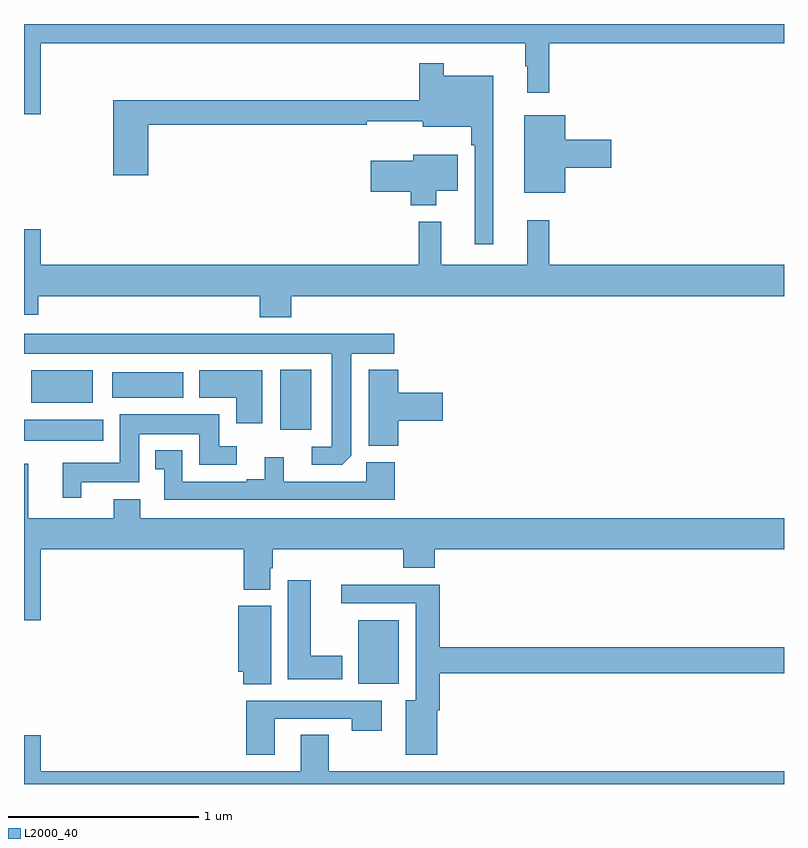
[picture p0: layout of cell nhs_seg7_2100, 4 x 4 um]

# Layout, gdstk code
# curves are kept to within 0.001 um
import gdstk
lib = gdstk.Library(unit=1e-6, precision=1e-09)
def R(c, l, rs):  # rectangles x0, y0, x1, y1
    for r in rs: c.add(gdstk.rectangle(r[:2], r[2:], *l))
def P(c, l, *ps):  # polygons
    for p in ps: c.add(gdstk.Polygon(p, *l))
L2000_40 = (2000, 40)

nhs_seg7_2100 = lib.new_cell('nhs_seg7_2100')
R(nhs_seg7_2100, L2000_40, [(250.76,1046.528,250.972,1046.863), (249,1047.806,249.418,1047.916), (250.349,1047.864,250.513,1048.18), (249.038,1048.007,249.361,1048.177), (249.465,1048.034,249.838,1048.168)])
P(nhs_seg7_2100, L2000_40, [(249.088,1049.9),(251.637,1049.9),(251.637,1049.777),(251.648,1049.777),(251.648,1049.637),(251.765,1049.637),(251.765,1049.9),(253,1049.9),(253,1050),(249,1050),(249,1049.526),(249.088,1049.526)],
  [(251.47,1049.728),(251.209,1049.728),(251.209,1049.794),(251.08,1049.794),(251.08,1049.599),(249.47,1049.599),(249.47,1049.205),(249.653,1049.205),(249.653,1049.47),(250.803,1049.47),(250.803,1049.489),(251.099,1049.489),(251.099,1049.459),(251.353,1049.459),(251.353,1049.363),(251.373,1049.363),(251.373,1048.842),(251.47,1048.842)],
  [(251.848,1049.243),(252.091,1049.243),(252.091,1049.39),(251.848,1049.39),(251.848,1049.521),(251.633,1049.521),(251.633,1049.111),(251.848,1049.111)],
  [(251.17,1049.123),(251.284,1049.123),(251.284,1049.311),(251.048,1049.311),(251.048,1049.281),(250.824,1049.281),(250.824,1049.116),(251.036,1049.116),(251.036,1049.045),(251.17,1049.045)],
  [(250.406,1048.568),(253,1048.568),(253,1048.732),(251.765,1048.732),(251.765,1048.966),(251.648,1048.966),(251.648,1048.732),(251.195,1048.732),(251.195,1048.96),(251.077,1048.96),(251.077,1048.732),(249.088,1048.732),(249.088,1048.921),(249,1048.921),(249,1048.469),(249.074,1048.469),(249.074,1048.568),(250.241,1048.568),(250.241,1048.457),(250.406,1048.457)],
  [(250.722,1047.727),(250.723,1048.265),(250.948,1048.265),(250.948,1048.369),(249,1048.369),(249,1048.265),(250.619,1048.265),(250.619,1047.774),(250.515,1047.774),(250.515,1047.681),(250.676,1047.681)],
  [(250.97,1047.911),(251.203,1047.911),(251.203,1048.058),(250.97,1048.058),(250.97,1048.18),(250.814,1048.18),(250.814,1047.779),(250.97,1047.779)],
  [(250.255,1048.177),(249.923,1048.177),(249.923,1048.034),(250.118,1048.034),(250.118,1047.9),(250.255,1047.9)],
  [(249.301,1047.587),(249.607,1047.587),(249.607,1047.842),(249.923,1047.842),(249.923,1047.681),(250.12,1047.681),(250.12,1047.777),(250.027,1047.777),(250.027,1047.946),(249.503,1047.946),(249.503,1047.691),(249.203,1047.691),(249.203,1047.507),(249.301,1047.507)],
  [(250.952,1047.694),(250.8,1047.694),(250.8,1047.591),(250.366,1047.591),(250.366,1047.721),(250.268,1047.721),(250.268,1047.603),(250.172,1047.603),(250.172,1047.591),(249.834,1047.591),(249.834,1047.757),(249.692,1047.757),(249.692,1047.657),(249.738,1047.657),(249.738,1047.495),(250.952,1047.495)],
  [(249.088,1047.236),(250.157,1047.236),(250.157,1047.023),(250.297,1047.023),(250.297,1047.135),(250.31,1047.135),(250.31,1047.236),(250.997,1047.236),(250.997,1047.137),(251.162,1047.137),(251.162,1047.236),(253,1047.236),(253,1047.4),(249.613,1047.4),(249.613,1047.499),(249.473,1047.499),(249.473,1047.4),(249.023,1047.4),(249.023,1047.685),(249,1047.685),(249,1046.862),(249.088,1046.862)],
  [(250.675,1046.674),(250.51,1046.674),(250.51,1047.073),(250.388,1047.073),(250.388,1046.552),(250.675,1046.552)],
  [(251.176,1046.387),(251.189,1046.387),(251.189,1046.584),(253,1046.584),(253,1046.72),(251.189,1046.72),(251.189,1047.05),(250.671,1047.05),(250.671,1046.952),(251.063,1046.952),(251.063,1046.44),(251.009,1046.44),(251.009,1046.154),(251.176,1046.154)],
  [(250.3,1046.938),(250.127,1046.938),(250.127,1046.591),(250.154,1046.591),(250.154,1046.524),(250.3,1046.524)],
  [(250.321,1046.343),(250.726,1046.343),(250.726,1046.28),(250.882,1046.28),(250.882,1046.439),(250.169,1046.439),(250.169,1046.154),(250.321,1046.154)],
  [(253,1046.068),(250.605,1046.068),(250.605,1046.258),(250.457,1046.258),(250.457,1046.068),(249.088,1046.068),(249.088,1046.257),(249,1046.257),(249,1046),(253,1046)])

lib.write_gds('nhs_seg7_2100.gds')
